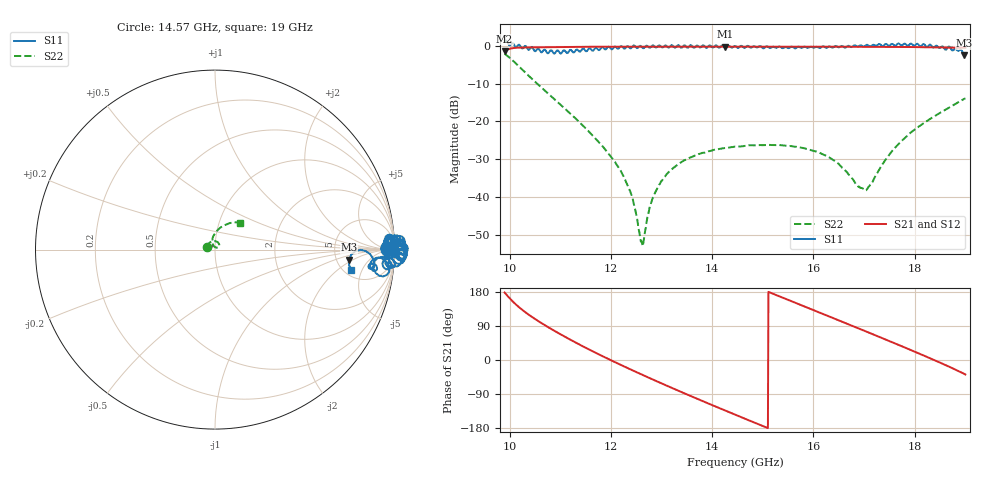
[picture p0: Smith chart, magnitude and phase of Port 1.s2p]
! RsaToolbox (C) 2015 Rohde & Schwarz America
! Number of points: 911
! Number of ports: 2
! Balanced ports?: No
# Hz S RI R 50
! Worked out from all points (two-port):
!   911 points, 9.9 GHz to 19 GHz, reference 50 ohm
!   highest |S21| = -0.22 dB at 14.26 GHz (marker M1); lowest = -1.3 dB at 9.9 GHz (marker M2)
!   |S21| within 3 dB of the highest: start of sweep to end of sweep
!   lowest |S11| = -2.5 dB at 18.98 GHz (marker M3), VSWR 6.98, Z = 327 - j83.2 ohm
!   |S11| at or under -10 dB: nowhere
!   |S22| runs from -53.0 to -2.1 dB; largest |S21 - S12| = 0
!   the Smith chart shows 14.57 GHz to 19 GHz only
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9.9e9  0.9892 -0.6013  -0.857 0.0298  -0.857 0.0298  0.2233 0.7536
1.013e10  0.8795 -0.3862  -0.7791 0.5323  -0.7791 0.5323  0.4881 0.3102
1.055e10  0.8628 -0.3014  -0.2294 0.9265  -0.2294 0.9265  0.2943 -0.105
1.095e10  0.862 -0.1175  0.3001 0.9158  0.3001 0.9158  0.09 -0.1556
1.142e10  0.8812 -0.0614  0.7672 0.5962  0.7672 0.5962  -0.0235 -0.0887
1.181e10  0.9476 -0.0337  0.9537 0.1964  0.9537 0.1964  -0.0384 -0.0304
1.221e10  0.9887 0.025  0.9456 -0.2344  0.9456 -0.2344  -0.021 -0.00104
1.242e10  0.9693 -0.0382  0.8689 -0.4411  0.8689 -0.4411  -0.00972 0.00185
1.261e10  0.9631 0.0439  0.7629 -0.6066  0.7629 -0.6066  -0.00182 -0.00167
1.279e10  0.9688 -0.0366  0.6357 -0.7392  0.6357 -0.7392  0.00278 -0.00771
1.294e10  1.008 -0.0206  0.5134 -0.8288  0.5134 -0.8288  0.00359 -0.0135
1.358e10  1.022 -0.00459  -0.091 -0.9708  -0.091 -0.9708  -0.0164 -0.0292
1.426e10  0.9429 0.0041  -0.6726 -0.7061  -0.6726 -0.7061  -0.0441 -0.00586
1.445e10  0.9969 -0.0075  -0.7902 -0.5714  -0.7902 -0.5714  -0.0459 0.00634
1.52e10  0.974 -0.00839  -0.9712 0.0878  -0.9712 0.0878  -0.0199 0.0445
1.597e10  0.9638 0.0403  -0.6673 0.7109  -0.6673 0.7109  0.0194 0.0365
1.651e10  0.9571 0.0462  -0.2358 0.9455  -0.2358 0.9455  0.0212 0.0164
1.702e10  1.001 0.0303  0.2306 0.9455  0.2306 0.9455  0.00327 0.0117
1.749e10  1.004 0.0289  0.6176 0.7481  0.6176 0.7481  -0.0134 0.0331
1.826e10  0.9811 -0.0842  0.9515 0.1179  0.9515 0.1179  0.00924 0.1029
1.898e10  0.7473 -0.0557  0.7545 -0.5656  0.7545 -0.5656  0.1308 0.1509
1.9e10  0.7602 -0.1152  0.7414 -0.5848  0.7414 -0.5848  0.137 0.1484
